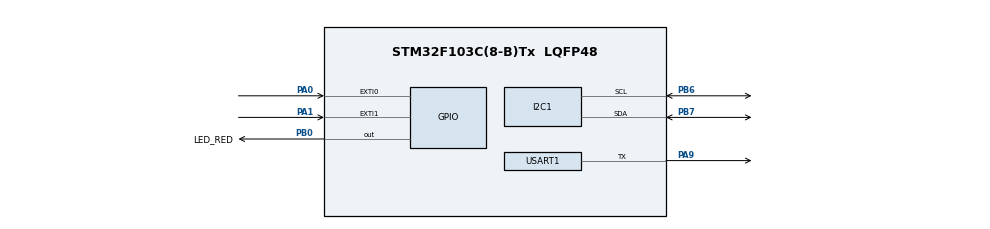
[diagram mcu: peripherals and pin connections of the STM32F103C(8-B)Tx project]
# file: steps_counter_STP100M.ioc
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Mcu.Family=STM32F1
Mcu.Name=STM32F103C(8-B)Tx
Mcu.Package=LQFP48
NVIC.EXTI0_IRQn=true\:0\:0\:false\:false\:true\:true
NVIC.EXTI1_IRQn=true\:0\:0\:false\:false\:true\:true
NVIC.PriorityGroup=NVIC_PRIORITYGROUP_4
NVIC.TIM3_IRQn=true\:0\:0\:false\:false\:true\:true
PA0-WKUP.GPIO_PuPd=GPIO_PULLDOWN
PA0-WKUP.Signal=GPXTI0
PA1.GPIO_PuPd=GPIO_PULLDOWN
PA1.Signal=GPXTI1
PA13.Mode=Serial_Wire
PA13.Signal=SYS_JTMS-SWDIO
PA14.Mode=Serial_Wire
PA14.Signal=SYS_JTCK-SWCLK
PA9.Mode=Half_duplex(single_wire_mode)
PA9.Signal=USART1_TX
PB0.GPIO_Label=LED_RED
PB0.Signal=GPIO_Output
PB6.Mode=I2C
PB6.Signal=I2C1_SCL
PB7.Mode=I2C
PB7.Signal=I2C1_SDA
PD0-OSC_IN.Mode=HSE-External-Oscillator
PD0-OSC_IN.Signal=RCC_OSC_IN
PD1-OSC_OUT.Mode=HSE-External-Oscillator
PD1-OSC_OUT.Signal=RCC_OSC_OUT
ProjectManager.HeapSize=0x200
ProjectManager.StackSize=0x400
ProjectManager.TargetToolchain=SW4STM32
RCC.APB1Freq_Value=8000000
RCC.APB2Freq_Value=8000000
RCC.SYSCLKSource=RCC_SYSCLKSOURCE_HSE
TIM3.Period=1000-1
TIM3.Prescaler=8000-1
USART1.BaudRate=38400
USART1.Mode=MODE_TX
USART1.VirtualMode=VM_ASYNC
VP_TIM3_VS_ClockSourceINT.Mode=Internal
board=custom

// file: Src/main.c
/**
  ******************************************************************************
  * @file           : main.c
  * @brief          : Main program body
  ******************************************************************************
  ** This notice applies to any and all portions of this file
  * that are not between comment pairs USER CODE BEGIN and
  * USER CODE END. Other portions of this file, whether
  * inserted by the user or by software development tools
  * are owned by their respective copyright owners.
  *
  * COPYRIGHT(c) 2019 STMicroelectronics
  *
  * Redistribution and use in source and binary forms, with or without modification,
  * are permitted provided that the following conditions are met:
  *   1. Redistributions of source code must retain the above copyright notice,
  *      this list of conditions and the following disclaimer.
  *   2. Redistributions in binary form must reproduce the above copyright notice,
  *      this list of conditions and the following disclaimer in the documentation
  *      and/or other materials provided with the distribution.
  *   3. Neither the name of STMicroelectronics nor the names of its contributors
  *      may be used to endorse or promote products derived from this software
  *      without specific prior written permission.
  *
  * THIS SOFTWARE IS PROVIDED BY THE COPYRIGHT HOLDERS AND CONTRIBUTORS "AS IS"
  * AND ANY EXPRESS OR IMPLIED WARRANTIES, INCLUDING, BUT NOT LIMITED TO, THE
  * IMPLIED WARRANTIES OF MERCHANTABILITY AND FITNESS FOR A PARTICULAR PURPOSE ARE
  * DISCLAIMED. IN NO EVENT SHALL THE COPYRIGHT HOLDER OR CONTRIBUTORS BE LIABLE
  * FOR ANY DIRECT, INDIRECT, INCIDENTAL, SPECIAL, EXEMPLARY, OR CONSEQUENTIAL
  * DAMAGES (INCLUDING, BUT NOT LIMITED TO, PROCUREMENT OF SUBSTITUTE GOODS OR
  * SERVICES; LOSS OF USE, DATA, OR PROFITS; OR BUSINESS INTERRUPTION) HOWEVER
  * CAUSED AND ON ANY THEORY OF LIABILITY, WHETHER IN CONTRACT, STRICT LIABILITY,
  * OR TORT (INCLUDING NEGLIGENCE OR OTHERWISE) ARISING IN ANY WAY OUT OF THE USE
  * OF THIS SOFTWARE, EVEN IF ADVISED OF THE POSSIBILITY OF SUCH DAMAGE.
  *
  ******************************************************************************
  */
#include "main.h"
#include "stm32f1xx_hal.h"
#include "i2c.h"
#include "tim.h"
#include "usart.h"
#include "gpio.h"

/* USER CODE BEGIN Includes */

	//	Crystal 8MHz
	//	PB0 - LED_RED
	//  PA9 - UART debug 38400
	//  PA0 - input 1
	//	PA1 - input 2
	//	I2C	- PB6 SCL, PB7 - SDA;

	#include <string.h>
	#include "lcd1602_fc113_sm.h"

	// next variables used in IRQ. See file stm32f1xx_it.c
	volatile  uint8_t	   time_to_show_u8 = 0 ;		// base on TIm3
	volatile uint32_t	step_counter_1_u32 = 0 ;		//	PA0
	volatile uint32_t	step_counter_2_u32 = 0 ;		//	PA1

/* USER CODE END Includes */

/* USER CODE BEGIN PV */
/* Private variables ---------------------------------------------------------*/

/* USER CODE END PV */

void SystemClock_Config(void);

/* USER CODE BEGIN PFP */
/* Private function prototypes -----------------------------------------------*/

/* USER CODE END PFP */

int main(void)
{

  /* MCU Configuration----------------------------------------------------------*/

  /* Reset of all peripherals, Initializes the Flash interface and the Systick. */
  HAL_Init();

  /* Configure the system clock */
  SystemClock_Config();

  /* Initialize all configured peripherals */
  MX_GPIO_Init();
  MX_I2C1_Init();
  MX_USART1_UART_Init();
  MX_TIM3_Init();
  /* USER CODE BEGIN 2 */

	uint32_t	step_buff_1_u32 = 1;
	uint32_t	step_buff_2_u32 = 1;

	char uart_buffer_c[100];
	sprintf(uart_buffer_c,"\r\nSteps counter STP100M\r\nUART1 for debug started. Speed 38400\r\n");
	HAL_UART_Transmit(&huart1, (uint8_t *)uart_buffer_c, strlen(uart_buffer_c), 100);

	#define ADR_I2C_FC113 0x27

	lcd1602_fc113_struct h1_lcd1602_fc113 =
	{
		.i2c = &hi2c1,
		.device_i2c_address = ADR_I2C_FC113
	};

	LCD1602_Init(&h1_lcd1602_fc113);
	I2C_ScanBus(&h1_lcd1602_fc113);

	LCD1602_Clear(&h1_lcd1602_fc113);
	sprintf(uart_buffer_c,"Steps Counter\r\n");
	LCD1602_Print_Line(&h1_lcd1602_fc113, uart_buffer_c, strlen(uart_buffer_c));

	sprintf(uart_buffer_c," STP100M\r\n");
	LCD1602_Print_Line(&h1_lcd1602_fc113, uart_buffer_c, strlen(uart_buffer_c));

	sprintf(uart_buffer_c,"LCD1602 over FC113\r\n");
	HAL_UART_Transmit(&huart1, (uint8_t *)uart_buffer_c, strlen(uart_buffer_c), 100);
	HAL_Delay(1000);
	//LCD1602_Clear(&h1_lcd1602_fc113);

	HAL_TIM_Base_Start(&htim3);
	HAL_TIM_Base_Start_IT(&htim3);

	LCD1602_Clear(&h1_lcd1602_fc113);

  /* USER CODE END 2 */

  /* Infinite loop */
  /* USER CODE BEGIN WHILE */
  while (1)
  {

	if (time_to_show_u8 == 1 )
	{
		time_to_show_u8 = 0;
		HAL_GPIO_TogglePin(LED_RED_GPIO_Port, LED_RED_Pin);	// blink red led on board

		if (   (step_buff_1_u32 != step_counter_1_u32)
			|| (step_buff_2_u32 != step_counter_2_u32) )
		{
			sprintf(uart_buffer_c,"L: %5d\n", (int)step_counter_1_u32);
			LCD1602_Print_Line(&h1_lcd1602_fc113, uart_buffer_c, strlen(uart_buffer_c));

			sprintf(uart_buffer_c,"R: %5d\n", (int)step_counter_2_u32);
			LCD1602_Print_Line(&h1_lcd1602_fc113, uart_buffer_c, strlen(uart_buffer_c));

			sprintf(uart_buffer_c,"left: %d   right: %d\r\n", (int)step_counter_1_u32, (int)step_counter_2_u32);
			HAL_UART_Transmit(&huart1, (uint8_t *)uart_buffer_c, strlen(uart_buffer_c), 100);

			step_buff_1_u32 = step_counter_1_u32;
			step_buff_2_u32 = step_counter_2_u32;
		}
	}
  /* USER CODE END WHILE */

  }

}

void SystemClock_Config(void)
{

  RCC_OscInitTypeDef RCC_OscInitStruct;
  RCC_ClkInitTypeDef RCC_ClkInitStruct;

    /**Initializes the CPU, AHB and APB busses clocks
    */
  RCC_OscInitStruct.OscillatorType = RCC_OSCILLATORTYPE_HSE;
  RCC_OscInitStruct.HSEState = RCC_HSE_ON;
  RCC_OscInitStruct.PLL.PLLState = RCC_PLL_NONE;
  if (HAL_RCC_OscConfig(&RCC_OscInitStruct) != HAL_OK)
  {
    _Error_Handler(__FILE__, __LINE__);
  }

    /**Initializes the CPU, AHB and APB busses clocks
    */
  RCC_ClkInitStruct.ClockType = RCC_CLOCKTYPE_HCLK|RCC_CLOCKTYPE_SYSCLK
                              |RCC_CLOCKTYPE_PCLK1|RCC_CLOCKTYPE_PCLK2;
  RCC_ClkInitStruct.SYSCLKSource = RCC_SYSCLKSOURCE_HSE;
  RCC_ClkInitStruct.AHBCLKDivider = RCC_SYSCLK_DIV1;
  RCC_ClkInitStruct.APB1CLKDivider = RCC_HCLK_DIV1;
  RCC_ClkInitStruct.APB2CLKDivider = RCC_HCLK_DIV1;

  if (HAL_RCC_ClockConfig(&RCC_ClkInitStruct, FLASH_LATENCY_0) != HAL_OK)
  {
    _Error_Handler(__FILE__, __LINE__);
  }

    /**Configure the Systick interrupt time
    */
  HAL_SYSTICK_Config(HAL_RCC_GetHCLKFreq()/1000);

    /**Configure the Systick
    */
  HAL_SYSTICK_CLKSourceConfig(SYSTICK_CLKSOURCE_HCLK);

  /* SysTick_IRQn interrupt configuration */
  HAL_NVIC_SetPriority(SysTick_IRQn, 0, 0);
}

void _Error_Handler(char *file, int line)
{
  while(1)
  {
  }
}

/************************ (C) COPYRIGHT STMicroelectronics *****END OF FILE****/
